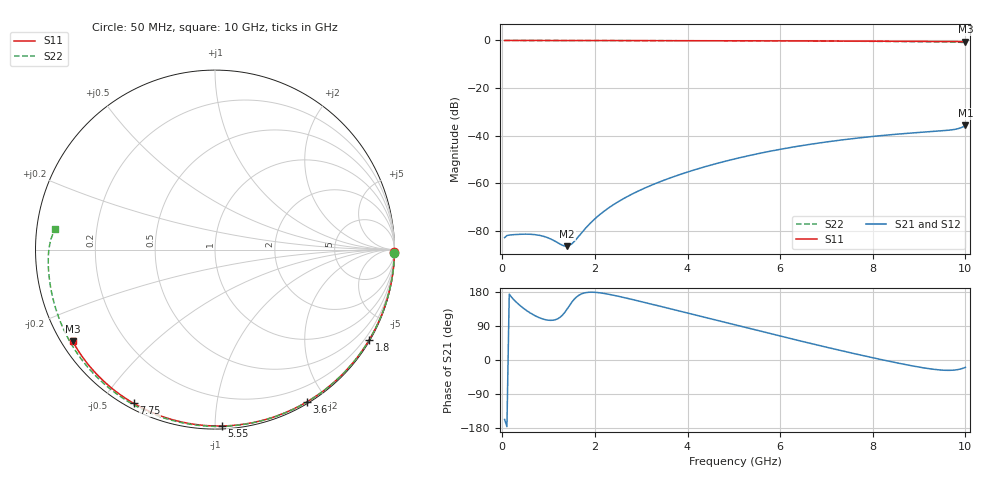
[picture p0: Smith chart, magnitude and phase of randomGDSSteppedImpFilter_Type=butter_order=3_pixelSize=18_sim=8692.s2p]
! freq	dB(S11)	phase(S11)	dB(S12)	phase(S12)
!  dB(S21)	phase(S21)	dB(S22)	phase(S22)
!S-par simulation data
#  GHz  S  DB  R 50
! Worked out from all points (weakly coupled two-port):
!   200 points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, 50 MHz to 10 GHz, reference 50 ohm
!   highest |S21| = -35.75 dB at 10 GHz (marker M1); lowest = -86.5 dB at 1.4 GHz (marker M2)
!   lowest |S11| = -0.5 dB at 10 GHz (marker M3), VSWR 34.39, Z = 1.58 - j14.7 ohm
!   |S11| at or under -10 dB: nowhere
!   |S22| runs from -0.9 to 0.0 dB; largest |S21 - S12| = 0
!   S11 on the Smith chart (normalised r, x): 50 MHz: open; 1.8 GHz: 0.03, -3.70; 3.6 GHz: 0.02, -1.77; 5.55 GHz: 0.02, -1.04; 7.75 GHz: 0.02, -0.60; 10 GHz: 0.03, -0.29
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0.05  -0.00 -0.9  -82.89 -156.8  -82.89 -156.8  -0.00 -1.0
0.7  -0.01 -11.9  -81.65 117.3  -81.65 117.3  -0.02 -14.5
1.4  -0.03 -23.7  -86.51 134.4  -86.51 134.4  -0.04 -28.8
1.75  -0.04 -29.4  -80.02 176.2  -80.02 176.2  -0.05 -35.9
1.8  -0.04 -30.3  -78.92 177.7  -78.92 177.7  -0.05 -36.9
1.95  -0.04 -32.7  -75.90 179.0  -75.90 179.0  -0.05 -39.8
2.1  -0.05 -35.2  -73.31 177.5  -73.31 177.5  -0.05 -42.8
2.45  -0.05 -40.9  -68.45 169.7  -68.45 169.7  -0.06 -49.7
2.9  -0.06 -48.1  -63.66 157.0  -63.66 157.0  -0.07 -58.3
3.4  -0.07 -55.9  -59.45 142.1  -59.45 142.1  -0.09 -67.8
3.6  -0.08 -59.0  -57.99 136.1  -57.99 136.1  -0.10 -71.5
4.3  -0.10 -69.7  -53.54 114.9  -53.54 114.9  -0.12 -84.2
5.05  -0.12 -80.7  -49.66 92.1  -49.66 92.1  -0.15 -97.5
5.55  -0.14 -87.9  -47.49 76.9  -47.49 76.9  -0.17 -106.1
6.1  -0.17 -95.6  -45.43 60.3  -45.43 60.3  -0.20 -115.4
6.7  -0.20 -103.8  -43.52 42.5  -43.52 42.5  -0.24 -125.4
7.75  -0.27 -117.9  -40.88 12.7  -40.88 12.7  -0.34 -142.9
8.35  -0.32 -125.8  -39.70 -3.2  -39.70 -3.2  -0.42 -152.9
9.05  -0.39 -134.9  -38.62 -19.8  -38.62 -19.8  -0.53 -165.2
9.65  -0.46 -142.7  -37.73 -27.3  -37.73 -27.3  -0.63 -177.3
9.85  -0.49 -145.3  -37.04 -25.0  -37.04 -25.0  -0.73 177.5
10  -0.51 -147.3  -35.75 -19.5  -35.75 -19.5  -0.93 172.8
